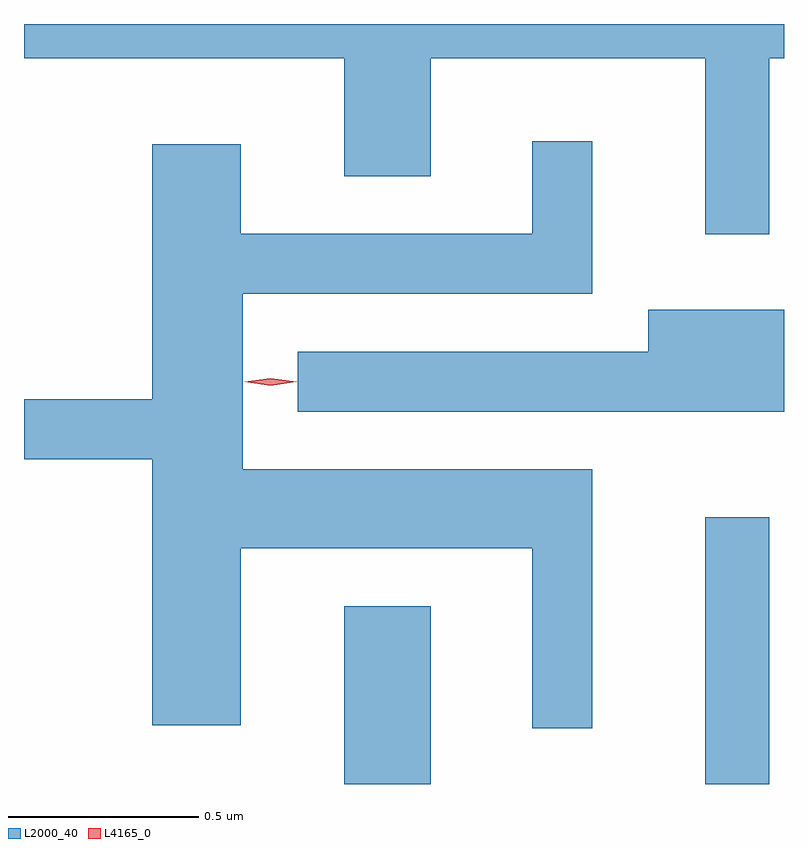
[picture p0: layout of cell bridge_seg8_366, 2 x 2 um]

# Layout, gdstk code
import gdstk
lib = gdstk.Library(unit=1e-6, precision=1e-09)
def R(c, l, rs):  # rectangles x0, y0, x1, y1
    for r in rs: c.add(gdstk.rectangle(r[:2], r[2:], *l))
def P(c, l, *ps):  # polygons
    for p in ps: c.add(gdstk.Polygon(p, *l))
L2000_40 = (2000, 40)
L4165_0 = (4165, 0)

bridge_seg8_366 = lib.new_cell('bridge_seg8_366')
R(bridge_seg8_366, L2000_40, [(823.341,1936.626,823.569,1937.094), (824.291,1936.626,824.459,1937.328)])
P(bridge_seg8_366, L2000_40, [(824.459,1938.536),(824.498,1938.536),(824.498,1938.626),(822.498,1938.626),(822.498,1938.536),(823.341,1938.536),(823.341,1938.226),(823.569,1938.226),(823.569,1938.536),(824.291,1938.536),(824.291,1938.073),(824.459,1938.073)],
  [(823.994,1937.454),(823.074,1937.454),(823.074,1937.916),(823.994,1937.916),(823.994,1938.318),(823.836,1938.318),(823.836,1938.074),(823.069,1938.074),(823.069,1938.309),(822.836,1938.309),(822.836,1937.639),(822.498,1937.639),(822.498,1937.481),(822.836,1937.481),(822.836,1936.781),(823.069,1936.781),(823.069,1937.246),(823.836,1937.246),(823.836,1936.773),(823.994,1936.773)],
  [(824.498,1937.874),(824.141,1937.874),(824.141,1937.764),(823.218,1937.764),(823.218,1937.606),(824.498,1937.606)])
P(bridge_seg8_366, L4165_0, [(823.147,1937.674),(823.082,1937.684),(823.081,1937.684),(823.082,1937.685),(823.147,1937.694),(823.212,1937.685),(823.213,1937.684),(823.212,1937.684)],
  [(823.147,1937.674),(823.077,1937.684),(823.077,1937.684),(823.077,1937.685),(823.147,1937.694),(823.216,1937.685),(823.216,1937.684),(823.216,1937.684)])

lib.write_gds('bridge_seg8_366.gds')
